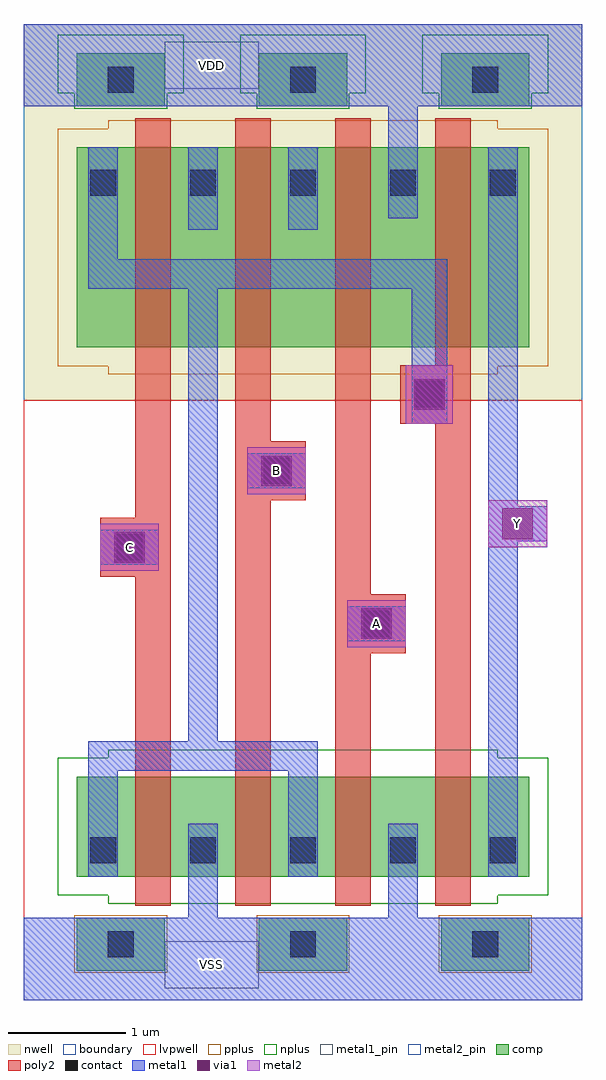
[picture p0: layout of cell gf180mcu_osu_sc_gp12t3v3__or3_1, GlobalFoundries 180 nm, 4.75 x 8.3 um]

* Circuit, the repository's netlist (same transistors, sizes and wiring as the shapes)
** sch_path: /foss/designs/work/12t_or3_1/gf180mcu_osu_sc_gp12t3v3__or3_1.sch
.subckt gf180mcu_osu_sc_gp12t3v3__or3_1 A B C Y VDD VSS
*.PININFO A:I B:I C:I Y:O VDD:B VSS:B
X1 net1 A VDD VDD pfet_03v3 w=1.7u l=0.3u m=1
X0 net2 B net1 VDD pfet_03v3 w=1.7u l=0.3u m=1
X6 net3 C net2 VDD pfet_03v3 w=1.7u l=0.3u m=1
X2 net3 A VSS VSS nfet_03v3 w=0.85u l=0.3u m=1
X3 net3 B VSS VSS nfet_03v3 w=0.85u l=0.3u m=1
X7 net3 C VSS VSS nfet_03v3 w=0.85u l=0.3u m=1
X4 Y net3 VDD VDD pfet_03v3 w=1.7u l=0.3u m=1
X5 Y net3 VSS VSS nfet_03v3 w=0.85u l=0.3u m=1
.ends

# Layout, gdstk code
import gdstk
lib = gdstk.Library(unit=1e-6, precision=1e-09)
def R(c, l, rs):  # rectangles x0, y0, x1, y1
    for r in rs: c.add(gdstk.rectangle(r[:2], r[2:], *l))
def A(c, l, x, y, w, h, nx, ny, dx, dy):  # array of equal rectangles
    R(c, l, [(x+i*dx, y+j*dy, x+i*dx+w, y+j*dy+h) for i in range(nx) for j in range(ny)])
boundary = (0, 0)
nwell = (21, 0)
comp = (22, 0)
poly2 = (30, 0)
pplus = (31, 0)
nplus = (32, 0)
contact = (33, 0)
metal1 = (34, 0)
metal1_pin = (34, 10)
via1 = (35, 0)
metal2 = (36, 0)
metal2_pin = (36, 10)
lvpwell = (204, 0)

gf180mcu_osu_sc_gp12t3v3 = lib.new_cell('gf180mcu_osu_sc_gp12t3v3__or3_1')
R(gf180mcu_osu_sc_gp12t3v3, boundary, [(6.85,0,11.6,8.3)])
R(gf180mcu_osu_sc_gp12t3v3, nwell, [(6.85,5.1,11.6,8.3)])
A(gf180mcu_osu_sc_gp12t3v3, comp, 7.3, 0.25, 0.75, 0.45, 3, 2, 1.55, 7.35)
R(gf180mcu_osu_sc_gp12t3v3, comp, [(7.3,1.05,11.15,1.9), (7.3,5.55,11.15,7.25)])
R(gf180mcu_osu_sc_gp12t3v3, poly2, [(7.8,0.8,8.1,3.6), (8.65,0.8,8.95,4.25), (9.5,0.8,9.8,2.95), (10.35,0.8,10.65,4.9), (9.5,2.95,10.1,3.45), (9.5,3.45,9.8,7.5), (7.5,3.6,8.1,4.1), (7.8,4.1,8.1,7.5), (8.65,4.25,9.25,4.75), (8.65,4.75,8.95,7.5), (10.05,4.9,10.65,5.4), (10.35,5.4,10.65,7.5)])
A(gf180mcu_osu_sc_gp12t3v3, pplus, 7.28, 0.23, 0.79, 0.49, 3, 1, 1.55, 0)
R(gf180mcu_osu_sc_gp12t3v3, pplus, [(7.57,5.32,10.88,5.39), (7.14,5.39,11.31,7.41), (7.57,7.41,10.88,7.48)])
A(gf180mcu_osu_sc_gp12t3v3, nplus, 7.28, 7.58, 0.79, 0.13, 3, 1, 1.55, 0)
A(gf180mcu_osu_sc_gp12t3v3, nplus, 7.14, 7.71, 1.07, 0.5, 3, 1, 1.55, 0)
R(gf180mcu_osu_sc_gp12t3v3, nplus, [(7.57,0.82,10.88,0.89), (7.14,0.89,11.31,2.06), (7.57,2.06,10.88,2.13)])
A(gf180mcu_osu_sc_gp12t3v3, contact, 7.565, 0.365, 0.22, 0.22, 3, 2, 1.55, 7.35)
A(gf180mcu_osu_sc_gp12t3v3, contact, 7.415, 1.165, 0.22, 0.22, 5, 2, 0.85, 5.675)
R(gf180mcu_osu_sc_gp12t3v3, contact, [(9.74,3.09,9.96,3.31), (7.64,3.74,7.86,3.96), (8.89,4.39,9.11,4.61), (10.19,5.04,10.41,5.26)])
R(gf180mcu_osu_sc_gp12t3v3, metal1, [(6.85,0,11.6,0.7), (8.25,0.7,8.5,1.5), (9.95,0.7,10.2,1.5), (7.4,1.05,7.65,1.95), (9.1,1.05,9.35,1.95), (10.8,1.05,11.05,3.9), (7.4,1.95,9.35,2.2), (8.25,2.2,8.5,6.05), (9.6,3.05,10.1,3.35), (7.5,3.7,8,4), (10.8,3.9,11.3,4.2), (10.8,4.2,11.05,7.25), (8.75,4.35,9.25,4.65), (10.15,4.9,10.45,6.05), (7.4,6.05,10.45,6.3), (7.4,6.3,7.65,7.25), (8.25,6.55,8.5,7.25), (9.1,6.55,9.35,7.25), (9.95,6.65,10.2,7.6), (6.85,7.6,11.6,8.3)])
R(gf180mcu_osu_sc_gp12t3v3, metal1_pin, [(8.05,0.1,8.85,0.5), (8.05,7.75,8.85,8.15)])
R(gf180mcu_osu_sc_gp12t3v3, via1, [(9.72,3.07,9.98,3.33), (7.62,3.72,7.88,3.98), (10.92,3.92,11.18,4.18), (8.87,4.37,9.13,4.63), (10.17,5.02,10.43,5.28)])
R(gf180mcu_osu_sc_gp12t3v3, metal2, [(9.6,3,10.1,3.4), (7.5,3.65,8,4.05), (10.8,3.85,11.3,4.25), (8.75,4.3,9.25,4.7), (10.1,4.9,10.5,5.4)])
R(gf180mcu_osu_sc_gp12t3v3, metal2_pin, [(9.6,3,10.1,3.4), (7.5,3.65,8,4.05), (10.8,3.85,11.3,4.25), (8.75,4.3,9.25,4.7)])
R(gf180mcu_osu_sc_gp12t3v3, lvpwell, [(6.85,0,11.6,5.1)])
gf180mcu_osu_sc_gp12t3v3.add(gdstk.Label('A', (9.85,3.2), layer=36, texttype=10))
gf180mcu_osu_sc_gp12t3v3.add(gdstk.Label('B', (9,4.5), layer=36, texttype=10))
gf180mcu_osu_sc_gp12t3v3.add(gdstk.Label('C', (7.75,3.85), layer=36, texttype=10))
gf180mcu_osu_sc_gp12t3v3.add(gdstk.Label('Y', (11.05,4.05), layer=36, texttype=10))
gf180mcu_osu_sc_gp12t3v3.add(gdstk.Label('VDD', (8.45,7.95), layer=34, texttype=10))
gf180mcu_osu_sc_gp12t3v3.add(gdstk.Label('VSS', (8.45,0.3), layer=34, texttype=10))

lib.write_gds('gf180mcu_osu_sc_gp12t3v3__or3_1.gds')
